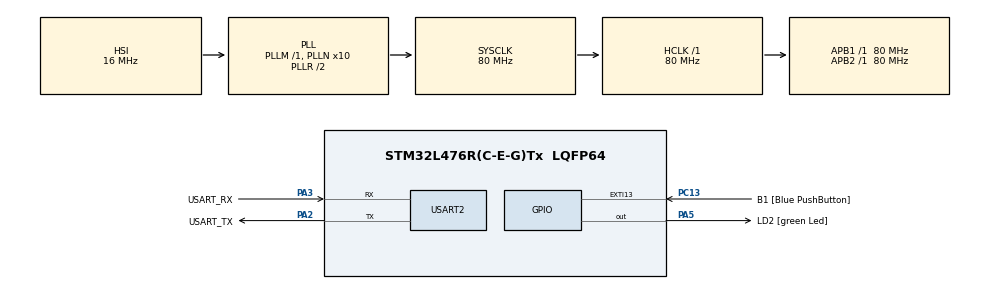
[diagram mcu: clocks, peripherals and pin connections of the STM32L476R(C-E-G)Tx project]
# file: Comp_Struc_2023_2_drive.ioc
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Mcu.Family=STM32L4
Mcu.Name=STM32L476R(C-E-G)Tx
Mcu.Package=LQFP64
NVIC.PriorityGroup=NVIC_PRIORITYGROUP_4
PA13\ (JTMS-SWDIO).GPIO_Label=TMS
PA13\ (JTMS-SWDIO).Mode=Serial_Wire
PA13\ (JTMS-SWDIO).Signal=SYS_JTMS-SWDIO
PA14\ (JTCK-SWCLK).GPIO_Label=TCK
PA14\ (JTCK-SWCLK).Mode=Serial_Wire
PA14\ (JTCK-SWCLK).Signal=SYS_JTCK-SWCLK
PA2.GPIO_Label=USART_TX
PA2.GPIO_Mode=GPIO_MODE_AF_PP
PA2.GPIO_PuPd=GPIO_NOPULL
PA2.GPIO_Speed=GPIO_SPEED_FREQ_VERY_HIGH
PA2.Mode=Asynchronous
PA2.Signal=USART2_TX
PA3.GPIO_Label=USART_RX
PA3.GPIO_Mode=GPIO_MODE_AF_PP
PA3.GPIO_PuPd=GPIO_NOPULL
PA3.GPIO_Speed=GPIO_SPEED_FREQ_VERY_HIGH
PA3.Mode=Asynchronous
PA3.Signal=USART2_RX
PA5.GPIO_Label=LD2 [green Led]
PA5.GPIO_ModeDefaultOutputPP=GPIO_MODE_OUTPUT_PP
PA5.GPIO_PuPd=GPIO_NOPULL
PA5.GPIO_Speed=GPIO_SPEED_FREQ_LOW
PA5.Signal=GPIO_Output
PB3\ (JTDO-TRACESWO).GPIO_Label=SWO
PB3\ (JTDO-TRACESWO).Signal=SYS_JTDO-SWO
PC13.GPIO_Label=B1 [Blue PushButton]
PC13.GPIO_ModeDefaultEXTI=GPIO_MODE_IT_FALLING
PC13.GPIO_PuPd=GPIO_NOPULL
PC13.Signal=GPXTI13
PC14-OSC32_IN\ (PC14).Mode=LSE-External-Oscillator
PC14-OSC32_IN\ (PC14).Signal=RCC_OSC32_IN
PC15-OSC32_OUT\ (PC15).Mode=LSE-External-Oscillator
PC15-OSC32_OUT\ (PC15).Signal=RCC_OSC32_OUT
PH0-OSC_IN\ (PH0).Signal=RCC_OSC_IN
PH1-OSC_OUT\ (PH1).Signal=RCC_OSC_OUT
ProjectManager.HeapSize=0x200
ProjectManager.StackSize=0x400
ProjectManager.TargetToolchain=STM32CubeIDE
RCC.ADCFreq_Value=64000000
RCC.AHBFreq_Value=80000000
RCC.APB1Freq_Value=80000000
RCC.APB1TimFreq_Value=80000000
RCC.APB2Freq_Value=80000000
RCC.APB2TimFreq_Value=80000000
RCC.CortexFreq_Value=80000000
RCC.HCLKFreq_Value=80000000
RCC.HSE_VALUE=8000000
RCC.HSI_VALUE=16000000
RCC.MSI_VALUE=4000000
RCC.PLLN=10
RCC.PLLSourceVirtual=RCC_PLLSOURCE_HSI
RCC.PREFETCH_ENABLE=1
RCC.SYSCLKFreq_VALUE=80000000
RCC.SYSCLKSource=RCC_SYSCLKSOURCE_PLLCLK
RCC.USBFreq_Value=64000000
RCC.VCOOutputFreq_Value=160000000
USART2.VirtualMode-Asynchronous=VM_ASYNC
board=NUCLEO-L476RG

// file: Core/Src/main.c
/* USER CODE BEGIN Header */
/***
  ******************************************************************************
  * @file           : main.c
  * @brief          : Main program body
  ******************************************************************************
  * @attention
  *
  * Copyright (c) 2023 STMicroelectronics.
  * All rights reserved.
  *
  * This software is licensed under terms that can be found in the LICENSE file
  * in the root directory of this software component.
  * If no LICENSE file comes with this software, it is provided AS-IS.
  *
  ******************************************************************************
  */
/* USER CODE END Header */
#include "main.h"

/* USER CODE BEGIN Includes */
#include <stdio.h>

#include "ring_buffer.h"
/* USER CODE END Includes */

UART_HandleTypeDef huart2;

/* USER CODE BEGIN PV */
uint8_t rx_buffer[16];
ring_buffer_t ring_buffer_uart_rx;

uint8_t rx_data;
/* USER CODE END PV */

void SystemClock_Config(void);
static void MX_GPIO_Init(void);
static void MX_USART2_UART_Init(void);

/* USER CODE BEGIN 0 */

int _write(int file, char *ptr, int len)
{
  HAL_UART_Transmit(&huart2, (uint8_t *)ptr, len, HAL_MAX_DELAY);
  return len;
}
/**
  * @brief  Rx Transfer completed callback.
  * @param  huart UART handle.
  * @retval None
  */
void HAL_UART_RxCpltCallback(UART_HandleTypeDef *huart)
{
	ring_buffer_put(&ring_buffer_uart_rx, rx_data);

	HAL_UART_Receive_IT(&huart2, &rx_data, 1);
}

/* USER CODE END 0 */

int main(void)
{

  /* MCU Configuration--------------------------------------------------------*/

  /* Reset of all peripherals, Initializes the Flash interface and the Systick. */
  HAL_Init();

  /* Configure the system clock */
  SystemClock_Config();

  /* Initialize all configured peripherals */
  MX_GPIO_Init();
  MX_USART2_UART_Init();
  /* USER CODE BEGIN 2 */
  ring_buffer_init(&ring_buffer_uart_rx,rx_buffer,16);

  HAL_UART_Receive_IT(&huart2, &rx_data, 1);
  /* USER CODE END 2 */

  /* Infinite loop */
  /* USER CODE BEGIN WHILE */
  while (1)
  {
	  uint16_t size = ring_buffer_size(&ring_buffer_uart_rx);
	  if (size != 0) {
			  uint8_t rx_message[size + 1];
			  for (uint16_t idx = 0; idx < size; idx++) {
				  	  ring_buffer_get(&ring_buffer_uart_rx, &rx_message[idx]);
			  }
			  rx_message[size] = 0;
			  printf("Rec: %s\r\n", rx_message);
			  }
			  HAL_Delay(1000); // to wait one second
    /* USER CODE END WHILE */

  }
}

void SystemClock_Config(void)
{
  RCC_OscInitTypeDef RCC_OscInitStruct = {0};
  RCC_ClkInitTypeDef RCC_ClkInitStruct = {0};

  /** Configure the main internal regulator output voltage
  */
  if (HAL_PWREx_ControlVoltageScaling(PWR_REGULATOR_VOLTAGE_SCALE1) != HAL_OK)
  {
    Error_Handler();
  }

  /** Initializes the RCC Oscillators according to the specified parameters
  * in the RCC_OscInitTypeDef structure.
  */
  RCC_OscInitStruct.OscillatorType = RCC_OSCILLATORTYPE_HSI;
  RCC_OscInitStruct.HSIState = RCC_HSI_ON;
  RCC_OscInitStruct.HSICalibrationValue = RCC_HSICALIBRATION_DEFAULT;
  RCC_OscInitStruct.PLL.PLLState = RCC_PLL_ON;
  RCC_OscInitStruct.PLL.PLLSource = RCC_PLLSOURCE_HSI;
  RCC_OscInitStruct.PLL.PLLM = 1;
  RCC_OscInitStruct.PLL.PLLN = 10;
  RCC_OscInitStruct.PLL.PLLP = RCC_PLLP_DIV7;
  RCC_OscInitStruct.PLL.PLLQ = RCC_PLLQ_DIV2;
  RCC_OscInitStruct.PLL.PLLR = RCC_PLLR_DIV2;
  if (HAL_RCC_OscConfig(&RCC_OscInitStruct) != HAL_OK)
  {
    Error_Handler();
  }

  /** Initializes the CPU, AHB and APB buses clocks
  */
  RCC_ClkInitStruct.ClockType = RCC_CLOCKTYPE_HCLK|RCC_CLOCKTYPE_SYSCLK
                              |RCC_CLOCKTYPE_PCLK1|RCC_CLOCKTYPE_PCLK2;
  RCC_ClkInitStruct.SYSCLKSource = RCC_SYSCLKSOURCE_PLLCLK;
  RCC_ClkInitStruct.AHBCLKDivider = RCC_SYSCLK_DIV1;
  RCC_ClkInitStruct.APB1CLKDivider = RCC_HCLK_DIV1;
  RCC_ClkInitStruct.APB2CLKDivider = RCC_HCLK_DIV1;

  if (HAL_RCC_ClockConfig(&RCC_ClkInitStruct, FLASH_LATENCY_4) != HAL_OK)
  {
    Error_Handler();
  }
}

static void MX_USART2_UART_Init(void)
{

  huart2.Instance = USART2;
  huart2.Init.BaudRate = 115200;
  huart2.Init.WordLength = UART_WORDLENGTH_8B;
  huart2.Init.StopBits = UART_STOPBITS_1;
  huart2.Init.Parity = UART_PARITY_NONE;
  huart2.Init.Mode = UART_MODE_TX_RX;
  huart2.Init.HwFlowCtl = UART_HWCONTROL_NONE;
  huart2.Init.OverSampling = UART_OVERSAMPLING_16;
  huart2.Init.OneBitSampling = UART_ONE_BIT_SAMPLE_DISABLE;
  huart2.AdvancedInit.AdvFeatureInit = UART_ADVFEATURE_NO_INIT;
  if (HAL_UART_Init(&huart2) != HAL_OK)
  {
    Error_Handler();
  }

}

static void MX_GPIO_Init(void)
{
  GPIO_InitTypeDef GPIO_InitStruct = {0};

  /* GPIO Ports Clock Enable */
  __HAL_RCC_GPIOC_CLK_ENABLE();
  __HAL_RCC_GPIOH_CLK_ENABLE();
  __HAL_RCC_GPIOA_CLK_ENABLE();
  __HAL_RCC_GPIOB_CLK_ENABLE();

  /*Configure GPIO pin Output Level */
  HAL_GPIO_WritePin(LD2_GPIO_Port, LD2_Pin, GPIO_PIN_RESET);

  /*Configure GPIO pin : B1_Pin */
  GPIO_InitStruct.Pin = B1_Pin;
  GPIO_InitStruct.Mode = GPIO_MODE_IT_FALLING;
  GPIO_InitStruct.Pull = GPIO_NOPULL;
  HAL_GPIO_Init(B1_GPIO_Port, &GPIO_InitStruct);

  /*Configure GPIO pin : LD2_Pin */
  GPIO_InitStruct.Pin = LD2_Pin;
  GPIO_InitStruct.Mode = GPIO_MODE_OUTPUT_PP;
  GPIO_InitStruct.Pull = GPIO_NOPULL;
  GPIO_InitStruct.Speed = GPIO_SPEED_FREQ_LOW;
  HAL_GPIO_Init(LD2_GPIO_Port, &GPIO_InitStruct);

}

void Error_Handler(void)
{
  __disable_irq();
  while (1)
  {
  }
}
